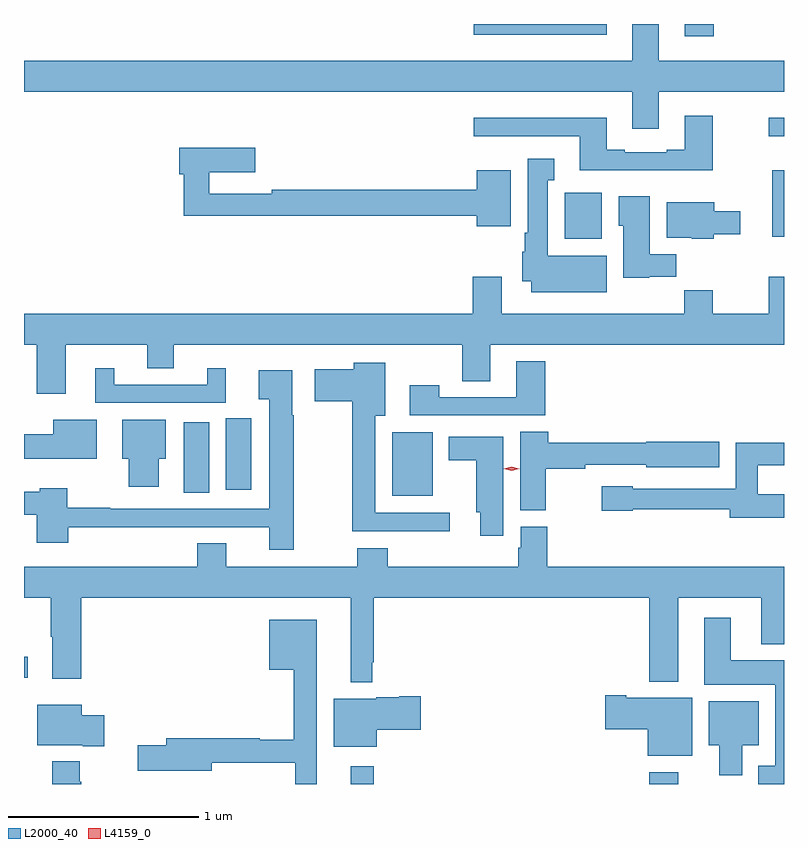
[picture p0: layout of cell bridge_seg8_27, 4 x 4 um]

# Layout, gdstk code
import gdstk
lib = gdstk.Library(unit=1e-6, precision=1e-09)
def R(c, l, rs):  # rectangles x0, y0, x1, y1
    for r in rs: c.add(gdstk.rectangle(r[:2], r[2:], *l))
def P(c, l, *ps):  # polygons
    for p in ps: c.add(gdstk.Polygon(p, *l))
L2000_40 = (2000, 40)
L4159_0 = (4159, 0)

bridge_seg8_27 = lib.new_cell('bridge_seg8_27')
R(bridge_seg8_27, L2000_40, [(1056.455,1152.817,1056.577,1152.91), (1058.027,1152.817,1058.179,1152.88), (1054.735,1153.376,1054.756,1153.486), (1056.674,1154.333,1056.886,1154.668), (1055.576,1154.35,1055.71,1154.722), (1055.798,1154.367,1055.932,1154.742), (1057.58,1155.686,1057.777,1155.928), (1058.672,1155.696,1058.735,1156.048), (1058.655,1156.227,1058.735,1156.324), (1058.213,1156.752,1058.366,1156.817), (1057.101,1156.76,1057.801,1156.817)])
P(bridge_seg8_27, L2000_40, [(1058.077,1156.46),(1058.735,1156.46),(1058.735,1156.624),(1058.077,1156.624),(1058.077,1156.817),(1057.937,1156.817),(1057.937,1156.624),(1054.735,1156.624),(1054.735,1156.46),(1057.937,1156.46),(1057.937,1156.266),(1058.077,1156.266)],
  [(1058.361,1156.333),(1058.213,1156.333),(1058.213,1156.156),(1058.117,1156.156),(1058.117,1156.143),(1057.897,1156.143),(1057.897,1156.156),(1057.801,1156.156),(1057.801,1156.324),(1057.101,1156.324),(1057.101,1156.227),(1057.661,1156.227),(1057.661,1156.046),(1058.361,1156.046)],
  [(1057.297,1156.048),(1057.118,1156.048),(1057.118,1155.944),(1056.04,1155.944),(1056.04,1155.924),(1055.711,1155.924),(1055.711,1156.037),(1055.953,1156.037),(1055.953,1156.167),(1055.552,1156.167),(1055.552,1156.025),(1055.575,1156.025),(1055.575,1155.808),(1057.118,1155.808),(1057.118,1155.752),(1057.297,1155.752)],
  [(1057.801,1155.598),(1057.492,1155.598),(1057.492,1155.995),(1057.525,1155.995),(1057.525,1156.108),(1057.385,1156.108),(1057.385,1155.718),(1057.37,1155.718),(1057.37,1155.618),(1057.358,1155.618),(1057.358,1155.464),(1057.406,1155.464),(1057.406,1155.404),(1057.801,1155.404)],
  [(1058.025,1155.486),(1058.168,1155.486),(1058.168,1155.604),(1058.029,1155.604),(1058.029,1155.91),(1057.865,1155.91),(1057.865,1155.756),(1057.889,1155.756),(1057.889,1155.482),(1058.025,1155.482)],
  [(1058.364,1155.71),(1058.506,1155.71),(1058.506,1155.832),(1058.368,1155.832),(1058.368,1155.88),(1058.117,1155.88),(1058.117,1155.692),(1058.25,1155.692),(1058.25,1155.686),(1058.364,1155.686)],
  [(1054.954,1155.128),(1055.384,1155.128),(1055.384,1155.004),(1055.524,1155.004),(1055.524,1155.128),(1057.042,1155.128),(1057.042,1154.938),(1057.189,1154.938),(1057.189,1155.128),(1058.735,1155.128),(1058.735,1155.487),(1058.656,1155.487),(1058.656,1155.292),(1058.361,1155.292),(1058.361,1155.416),(1058.209,1155.416),(1058.209,1155.292),(1057.249,1155.292),(1057.249,1155.487),(1057.097,1155.487),(1057.097,1155.292),(1054.735,1155.292),(1054.735,1155.128),(1054.802,1155.128),(1054.802,1154.871),(1054.954,1154.871)],
  [(1057.478,1155.043),(1057.325,1155.043),(1057.325,1154.853),(1056.921,1154.853),(1056.921,1154.917),(1056.765,1154.917),(1056.765,1154.757),(1057.478,1154.757)],
  [(1056.976,1154.244),(1056.583,1154.244),(1056.583,1154.756),(1056.637,1154.756),(1056.637,1155.034),(1056.47,1155.034),(1056.47,1155.001),(1056.264,1155.001),(1056.264,1154.831),(1056.463,1154.831),(1056.463,1154.147),(1056.976,1154.147)],
  [(1055.797,1155.004),(1055.699,1155.004),(1055.699,1154.919),(1055.209,1154.919),(1055.209,1155.004),(1055.111,1155.004),(1055.111,1154.823),(1055.797,1154.823)],
  [(1056.156,1154.759),(1056.148,1154.759),(1056.148,1154.995),(1055.97,1154.995),(1055.97,1154.843),(1056.026,1154.843),(1056.026,1154.265),(1055.189,1154.265),(1055.189,1154.27),(1054.962,1154.27),(1054.962,1154.374),(1054.818,1154.374),(1054.818,1154.356),(1054.735,1154.356),(1054.735,1154.234),(1054.802,1154.234),(1054.802,1154.088),(1054.967,1154.088),(1054.967,1154.168),(1055.564,1154.168),(1055.564,1154.169),(1056.026,1154.169),(1056.026,1154.049),(1056.156,1154.049)],
  [(1055.443,1154.528),(1055.482,1154.528),(1055.482,1154.734),(1055.252,1154.734),(1055.252,1154.528),(1055.285,1154.528),(1055.285,1154.382),(1055.443,1154.382)],
  [(1055.119,1154.734),(1054.889,1154.734),(1054.889,1154.658),(1054.735,1154.658),(1054.735,1154.528),(1055.119,1154.528)],
  [(1057.48,1154.476),(1057.688,1154.476),(1057.688,1154.496),(1058.01,1154.496),(1058.01,1154.483),(1058.395,1154.483),(1058.395,1154.618),(1058.01,1154.618),(1058.01,1154.612),(1057.493,1154.612),(1057.493,1154.672),(1057.346,1154.672),(1057.346,1154.257),(1057.48,1154.257)],
  [(1057.258,1154.644),(1056.971,1154.644),(1056.971,1154.522),(1057.115,1154.522),(1057.115,1154.247),(1057.136,1154.247),(1057.136,1154.124),(1057.258,1154.124)],
  [(1058.735,1154.341),(1058.597,1154.341),(1058.597,1154.495),(1058.735,1154.495),(1058.735,1154.612),(1058.481,1154.612),(1058.481,1154.37),(1057.938,1154.37),(1057.938,1154.383),(1057.776,1154.383),(1057.776,1154.254),(1057.938,1154.254),(1057.938,1154.262),(1058.45,1154.262),(1058.45,1154.219),(1058.735,1154.219)],
  [(1056.569,1153.459),(1056.577,1153.459),(1056.577,1153.796),(1058.027,1153.796),(1058.027,1153.355),(1058.179,1153.355),(1058.179,1153.796),(1058.615,1153.796),(1058.615,1153.553),(1058.735,1153.553),(1058.735,1153.96),(1057.49,1153.96),(1057.49,1154.172),(1057.349,1154.172),(1057.349,1154.061),(1057.337,1154.061),(1057.337,1153.96),(1056.65,1153.96),(1056.65,1154.059),(1056.49,1154.059),(1056.49,1153.96),(1055.8,1153.96),(1055.8,1154.084),(1055.648,1154.084),(1055.648,1153.96),(1054.735,1153.96),(1054.735,1153.796),(1054.876,1153.796),(1054.876,1153.592),(1054.883,1153.592),(1054.883,1153.371),(1055.036,1153.371),(1055.036,1153.796),(1056.455,1153.796),(1056.455,1153.352),(1056.569,1153.352)],
  [(1058.735,1153.468),(1058.455,1153.468),(1058.455,1153.693),(1058.315,1153.693),(1058.315,1153.34),(1058.69,1153.34),(1058.69,1152.913),(1058.6,1152.913),(1058.6,1152.817),(1058.735,1152.817)],
  [(1056.277,1153.681),(1056.026,1153.681),(1056.026,1153.418),(1056.156,1153.418),(1056.156,1153.051),(1055.977,1153.051),(1055.977,1153.058),(1055.483,1153.058),(1055.483,1153.022),(1055.334,1153.022),(1055.334,1152.887),(1055.722,1152.887),(1055.722,1152.93),(1056.163,1152.93),(1056.163,1152.817),(1056.277,1152.817)],
  [(1058.251,1153.27),(1057.906,1153.27),(1057.906,1153.283),(1057.794,1153.283),(1057.794,1153.105),(1058.018,1153.105),(1058.018,1152.965),(1058.251,1152.965)],
  [(1056.592,1153.102),(1056.823,1153.102),(1056.823,1153.28),(1056.71,1153.28),(1056.71,1153.273),(1056.588,1153.273),(1056.588,1153.267),(1056.365,1153.267),(1056.365,1153.013),(1056.592,1153.013)],
  [(1058.515,1153.022),(1058.602,1153.022),(1058.602,1153.252),(1058.339,1153.252),(1058.339,1153.022),(1058.393,1153.022),(1058.393,1152.864),(1058.515,1152.864)],
  [(1055.158,1153.18),(1055.038,1153.18),(1055.038,1153.234),(1054.805,1153.234),(1054.805,1153.022),(1055.045,1153.022),(1055.045,1153.016),(1055.158,1153.016)],
  [(1055.036,1152.83),(1055.029,1152.83),(1055.029,1152.937),(1054.883,1152.937),(1054.883,1152.817),(1055.036,1152.817)])
P(bridge_seg8_27, L4159_0, [(1057.301,1154.467),(1057.261,1154.476),(1057.261,1154.477),(1057.261,1154.477),(1057.301,1154.487),(1057.341,1154.477),(1057.342,1154.477),(1057.341,1154.476)])

lib.write_gds('bridge_seg8_27.gds')
